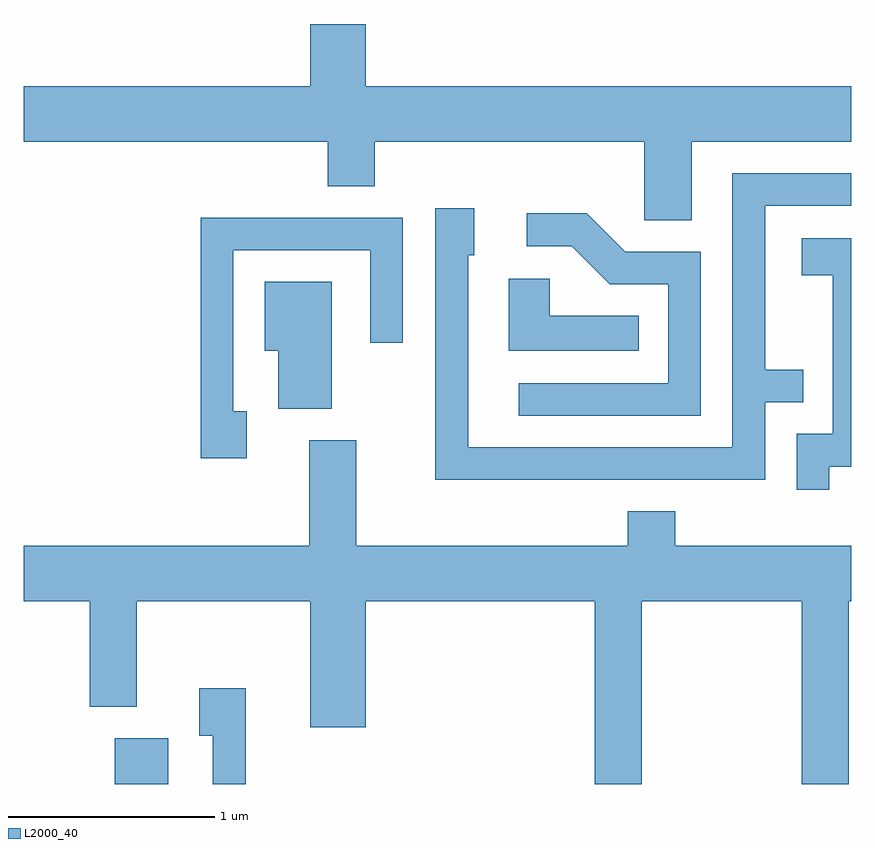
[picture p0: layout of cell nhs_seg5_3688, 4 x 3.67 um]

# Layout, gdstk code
import gdstk
lib = gdstk.Library(unit=1e-6, precision=1e-09)
def R(c, l, rs):  # rectangles x0, y0, x1, y1
    for r in rs: c.add(gdstk.rectangle(r[:2], r[2:], *l))
def P(c, l, *ps):  # polygons
    for p in ps: c.add(gdstk.Polygon(p, *l))
L2000_40 = (2000, 40)

nhs_seg5_3688 = lib.new_cell('nhs_seg5_3688')
R(nhs_seg5_3688, L2000_40, [(294.051,1518.072,294.309,1518.294)])
P(nhs_seg5_3688, L2000_40, [(296.839,1521.176),(297.611,1521.176),(297.611,1521.444),(295.264,1521.444),(295.264,1521.744),(294.996,1521.744),(294.996,1521.444),(293.611,1521.444),(293.611,1521.176),(295.081,1521.176),(295.081,1520.961),(295.309,1520.961),(295.309,1521.176),(296.611,1521.176),(296.611,1520.796),(296.839,1520.796)],
  [(297.194,1519.916),(297.378,1519.916),(297.378,1520.074),(297.194,1520.074),(297.194,1520.866),(297.611,1520.866),(297.611,1521.024),(297.036,1521.024),(297.036,1519.699),(295.759,1519.699),(295.759,1520.626),(295.789,1520.626),(295.789,1520.854),(295.601,1520.854),(295.601,1519.541),(297.194,1519.541)],
  [(296.884,1520.644),(296.517,1520.644),(296.332,1520.829),(296.043,1520.829),(296.043,1520.671),(296.259,1520.671),(296.444,1520.486),(296.726,1520.486),(296.726,1520.009),(296.003,1520.009),(296.003,1519.851),(296.884,1519.851)],
  [(294.689,1519.874),(294.624,1519.874),(294.624,1520.651),(295.286,1520.651),(295.286,1520.203),(295.444,1520.203),(295.444,1520.809),(294.466,1520.809),(294.466,1519.646),(294.689,1519.646)],
  [(297.504,1519.606),(297.611,1519.606),(297.611,1520.709),(297.371,1520.709),(297.371,1520.531),(297.521,1520.531),(297.521,1519.764),(297.346,1519.764),(297.346,1519.493),(297.504,1519.493)],
  [(296.583,1520.334),(296.154,1520.334),(296.154,1520.514),(295.956,1520.514),(295.956,1520.166),(296.583,1520.166)],
  [(295.099,1520.499),(294.776,1520.499),(294.776,1520.166),(294.841,1520.166),(294.841,1519.886),(295.099,1519.886)],
  [(296.599,1518.956),(297.371,1518.956),(297.371,1518.072),(297.599,1518.072),(297.599,1518.956),(297.611,1518.956),(297.611,1519.224),(296.759,1519.224),(296.759,1519.389),(296.531,1519.389),(296.531,1519.224),(295.219,1519.224),(295.219,1519.734),(294.991,1519.734),(294.991,1519.224),(293.611,1519.224),(293.611,1518.956),(293.931,1518.956),(293.931,1518.446),(294.159,1518.446),(294.159,1518.956),(294.996,1518.956),(294.996,1518.346),(295.264,1518.346),(295.264,1518.956),(296.371,1518.956),(296.371,1518.072),(296.599,1518.072)],
  [(294.684,1518.534),(294.461,1518.534),(294.461,1518.306),(294.526,1518.306),(294.526,1518.072),(294.684,1518.072)])

lib.write_gds('nhs_seg5_3688.gds')
